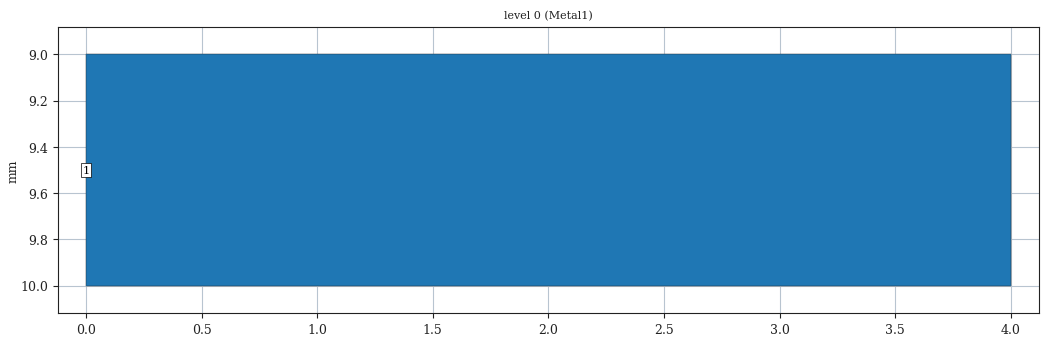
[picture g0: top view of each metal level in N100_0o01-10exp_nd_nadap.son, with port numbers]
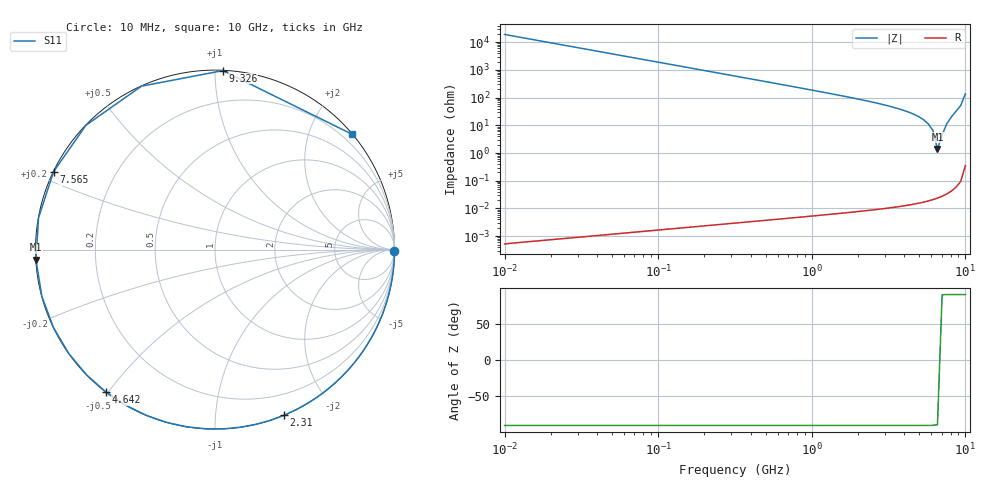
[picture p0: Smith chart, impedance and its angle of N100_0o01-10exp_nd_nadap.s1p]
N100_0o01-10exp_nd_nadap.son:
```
FTYP SONPROJ 19 ! Sonnet Project File
VER 18.56
HEADER
LIC sonnet10.72.52417
DAT 02/17/2023 14:32:11
BUILT_BY_CREATED xgeom 18.56 02/17/2023 13:10:04
BUILT_BY_SAVED sonnet 18.56
MDATE 02/17/2023 13:46:58
HDATE 02/17/2023 13:46:58
END HEADER
DIM
ANG DEG
CAP PF
CON /OH
FREQ GHZ
IND NH
LNG MM
RES OH
END DIM
CONTROL
VARSWP
OPTIONS 
SPEED 0
CACHE_ABS 2
Q_ACC N
END CONTROL
GEO
TMET "Lossless" 0 SUP 0 0 0 0
BMET "Lossless" 0 SUP 0 0 0 0
MET "Copper" 1 NOR 58000000 0.5 0.1 
BOX 1 30 15 60 30 20 0
      5 1 1 0 0 0 0 "Air"
      1 10 1 0 0 0 0 "Substrate"
TECHLAY METAL Metal1 <UNSPECIFIED> -2 -65534 
0 0 0 N 9 1 1 100 100 0 0 0 Y
END
END
LORGN 0 6.35 U 
POR1 BOX
POLY 24 1
3
1 50 0 0 0 0 9.5 
NUM 1
0 5 0 N 24 1 1 100 100 0 0 0 Y
TLAYNAM Metal1 INH
0 9
4 9
4 10
0 10
0 9
END
END GEO
OPT
MAX 100
END OPT
VARSWP
ENABLED Y
FREQ N AY ABS_ENTRY UNK 
FREQ Y AN ESWEEP 0.01 10.0 100
END
END VARSWP
FILEOUT
TOUCH D Y $BASENAME.s1p IC 15 S MA R 50.00000
FOLDER .
END FILEOUT
```
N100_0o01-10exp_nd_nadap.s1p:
! Sonnet Data File
! From: em Version : 18.56
! From Project: N100_0o01-10exp_nd_nadap
! Data is De-embedded
! Data File Written: 02/17/2023 14:33:46
!< HDATE 02/17/2023 13:46:58
!< MDATE 02/17/2023 13:46:58
# GHZ S MA R 50.00000
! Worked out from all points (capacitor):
!   100 points, 10 MHz to 10 GHz, reference 50 ohm
!   read as one part to ground: C = 838 fF near 10 MHz
!   lowest |Z| = 1.4 ohm at 6.579 GHz (marker M1)
!   series resonance near 6.693 GHz, so ESL is about 670 pH
!   S11 on the Smith chart (normalised r, x): 10 MHz: open; 2.31 GHz: 0.00, -1.50; 4.642 GHz: 0.00, -0.49; 7.565 GHz: 0.00, +0.23; 9.326 GHz: 0.00, +1.04; 10 GHz: 0.01, +2.74
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0.01  1 -0.3
0.1072267  1 -3.2
0.3764936  1 -11.4
1  1 -30.0
1.629751  1 -48.3
2.31013  0.9999 -67.4
3.511192  0.9997 -99.1
4.641589  0.9995 -127.4
5.722368  0.9993 -154.3
6.579332  0.9991 -176.8
7.564633  0.9987 154.3
8.69749  0.9983 114.2
9.326033  0.9982 87.5
10  0.9983 40.1
